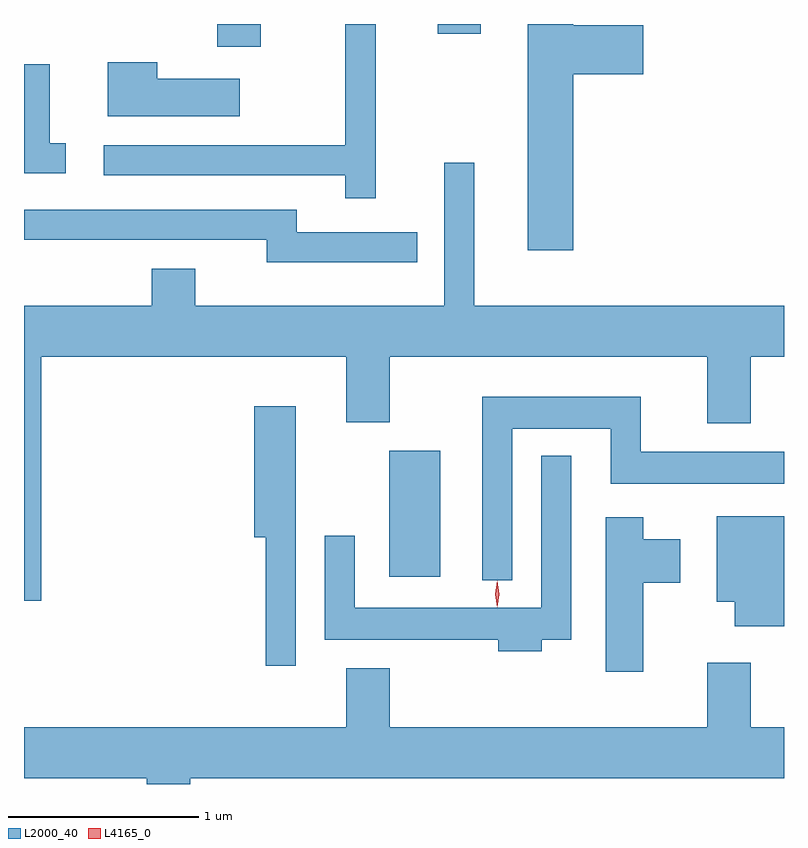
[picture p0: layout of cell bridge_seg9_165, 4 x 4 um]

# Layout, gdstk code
import gdstk
lib = gdstk.Library(unit=1e-6, precision=1e-09)
def R(c, l, rs):  # rectangles x0, y0, x1, y1
    for r in rs: c.add(gdstk.rectangle(r[:2], r[2:], *l))
def P(c, l, *ps):  # polygons
    for p in ps: c.add(gdstk.Polygon(p, *l))
L2000_40 = (2000, 40)
L4165_0 = (4165, 0)

bridge_seg9_165 = lib.new_cell('bridge_seg9_165')
R(bridge_seg9_165, L2000_40, [(1410.366,2063.916,1410.634,2064.579), (1409.461,2066.706,1409.689,2066.826), (1410.621,2066.776,1410.849,2066.826)])
P(bridge_seg9_165, L2000_40, [(1411.334,2066.561),(1411.704,2066.561),(1411.704,2066.819),(1411.334,2066.819),(1411.334,2066.826),(1411.096,2066.826),(1411.096,2065.636),(1411.334,2065.636)],
  [(1410.294,2066.826),(1410.136,2066.826),(1410.136,2066.189),(1408.863,2066.189),(1408.863,2066.031),(1410.136,2066.031),(1410.136,2065.908),(1410.294,2065.908)],
  [(1409.579,2066.539),(1409.144,2066.539),(1409.144,2066.624),(1408.886,2066.624),(1408.886,2066.341),(1409.579,2066.341)],
  [(1408.663,2066.199),(1408.579,2066.199),(1408.579,2066.614),(1408.444,2066.614),(1408.444,2066.041),(1408.663,2066.041)],
  [(1408.534,2065.076),(1410.141,2065.076),(1410.141,2064.731),(1410.369,2064.731),(1410.369,2065.076),(1412.041,2065.076),(1412.041,2064.726),(1412.269,2064.726),(1412.269,2065.076),(1412.444,2065.076),(1412.444,2065.344),(1410.814,2065.344),(1410.814,2066.097),(1410.656,2066.097),(1410.656,2065.344),(1409.344,2065.344),(1409.344,2065.539),(1409.116,2065.539),(1409.116,2065.344),(1408.444,2065.344),(1408.444,2063.791),(1408.534,2063.791)],
  [(1410.513,2065.729),(1409.879,2065.729),(1409.879,2065.849),(1408.444,2065.849),(1408.444,2065.691),(1409.721,2065.691),(1409.721,2065.571),(1410.513,2065.571)],
  [(1411.014,2064.696),(1411.531,2064.696),(1411.531,2064.406),(1412.444,2064.406),(1412.444,2064.574),(1411.689,2064.574),(1411.689,2064.864),(1410.856,2064.864),(1410.856,2063.898),(1411.014,2063.898)],
  [(1409.874,2064.814),(1409.656,2064.814),(1409.656,2064.126),(1409.716,2064.126),(1409.716,2063.448),(1409.874,2063.448)],
  [(1411.169,2063.586),(1411.324,2063.586),(1411.324,2064.553),(1411.166,2064.553),(1411.166,2063.754),(1410.184,2063.754),(1410.184,2064.133),(1410.026,2064.133),(1410.026,2063.586),(1410.941,2063.586),(1410.941,2063.526),(1411.169,2063.526)],
  [(1412.444,2064.234),(1412.091,2064.234),(1412.091,2063.786),(1412.186,2063.786),(1412.186,2063.656),(1412.444,2063.656)],
  [(1411.704,2063.886),(1411.899,2063.886),(1411.899,2064.114),(1411.704,2064.114),(1411.704,2064.229),(1411.506,2064.229),(1411.506,2063.416),(1411.704,2063.416)],
  [(1409.319,2062.856),(1412.444,2062.856),(1412.444,2063.124),(1412.269,2063.124),(1412.269,2063.464),(1412.041,2063.464),(1412.041,2063.124),(1410.369,2063.124),(1410.369,2063.434),(1410.141,2063.434),(1410.141,2063.124),(1408.444,2063.124),(1408.444,2062.856),(1409.091,2062.856),(1409.091,2062.826),(1409.319,2062.826)])
P(bridge_seg9_165, L4165_0, [(1410.934,2063.757),(1410.925,2063.826),(1410.934,2063.896),(1410.935,2063.896),(1410.936,2063.896),(1410.945,2063.826),(1410.936,2063.757),(1410.935,2063.757)],
  [(1410.935,2063.759),(1410.934,2063.76),(1410.925,2063.826),(1410.934,2063.892),(1410.935,2063.893),(1410.935,2063.892),(1410.945,2063.826),(1410.935,2063.76)])

lib.write_gds('bridge_seg9_165.gds')
